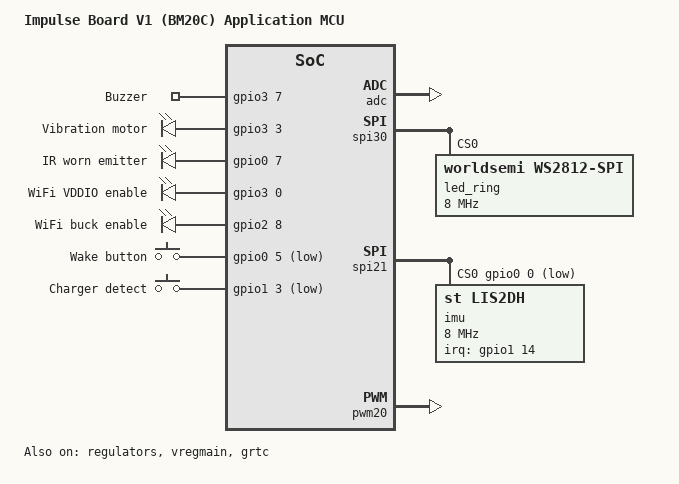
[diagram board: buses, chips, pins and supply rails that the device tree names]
/*
 * Impulse Board V1 — Fanstel BM20C (nRF54LM20A).
 * SPDX-License-Identifier: Apache-2.0
 *
 * Pin map: firmware_spec_v3_nrf.md §2, which is itself transcribed from
 * ~/Documents/KiCad/ImpulseBluetooth/Impulse.kicad_sch. Four signals here were
 * additionally EXERCISED on real hardware on 2026-08-29 (ring, motor, buzzer,
 * wake button) — those are marked [verified]. Everything else is [from schematic]
 * and has never been driven. Re-export the netlist before trusting the rest:
 *   kicad-cli sch export netlist --format kicadsexpr
 */

/dts-v1/;

#include <nordic/nrf54lm20a_cpuapp.dtsi>
#include <zephyr/dt-bindings/input/input-event-codes.h>
#include <zephyr/dt-bindings/led/led.h>
#include <zephyr/dt-bindings/regulator/nrf5x.h>
#include <zephyr/dt-bindings/gpio/nordic-nrf-gpio.h>
#include <zephyr/dt-bindings/adc/adc.h>
#include <zephyr/dt-bindings/adc/nrf-saadc.h>
#include "impulse_v1-pinctrl.dtsi"

/ {
	compatible = "impulse,impulse-v1-nrf54lm20a-cpuapp";
	model = "Impulse Board V1 (BM20C) Application MCU";

	chosen {
		zephyr,flash-controller = &rram_controller;
		zephyr,flash = &cpuapp_rram;
		zephyr,code-partition = &slot0_partition;
		zephyr,sram = &cpuapp_sram;
	};

	aliases {
		led-strip = &led_ring;
		watchdog0 = &wdt31;
	};

	/*
	 * Simple GPIO outputs. "gpio-leds" is used as a generic output binding
	 * so each gets a GPIO_DT_SPEC without a custom binding; none of these
	 * are LEDs and none are driven by the LED subsystem.
	 */
	outputs {
		compatible = "gpio-leds";

		/* [verified 2026-08-29] Active buzzer, direct to BUZZER1, pad C9.
		 * R17 (10k) pulls it to GND so it is silent through reset.
		 * DC drive sounds it — confirmed on the bench with a 150 ms pulse,
		 * so the fitted part is genuinely an active buzzer and no PWM tone
		 * generation is required. */
		buzzer: buzzer {
			/* HIGH DRIVE is required, not cosmetic. The buzzer is a
			 * ~30 mA load hung directly off the pin with no
			 * transistor. At standard drive the pad sags far enough
			 * that its own input buffer reads it back LOW while it
			 * is being driven high — observed on hardware
			 * 2026-08-30, and the bare-metal bring-up used
			 * extra-high drive for the same reason. */
			gpios = <&gpio3 7 (GPIO_ACTIVE_HIGH | NRF_GPIO_DRIVE_H0H1)>;
			label = "Buzzer";
		};

		/* [verified 2026-08-29] Vibration motor, pad A7, via R5 (1k) to Q3
		 * (BSS138) low-side switch. R10 (100k) holds the gate down through
		 * reset. Drives a MOSFET gate only, so it sources no real current. */
		motor: motor {
			gpios = <&gpio3 3 GPIO_ACTIVE_HIGH>;
			label = "Vibration motor";
		};

		/* [from schematic] IR worn-detect emitter, pad E4, via R7 (100R)
		 * to KEY1 (ITR8307). Lit only during a worn sample — see §5.2. */
		ir_emit: ir_emit {
			gpios = <&gpio0 7 GPIO_ACTIVE_HIGH>;
			label = "IR worn emitter";
		};

		/* [from schematic] WiFi rails. VDDIO gates U2 (TPS22916) into the
		 * WM02C, so WiFi can be powered off rather than idled (§1.1). */
		wifi_vddio_en: wifi_vddio_en {
			gpios = <&gpio3 0 GPIO_ACTIVE_HIGH>;
			label = "WiFi VDDIO enable";
		};

		wifi_buck_en: wifi_buck_en {
			gpios = <&gpio2 8 GPIO_ACTIVE_HIGH>;
			label = "WiFi buck enable";
		};
	};

	buttons {
		compatible = "gpio-keys";

		/* [verified 2026-08-29] Wake button S2 to GND, pad D9, on the back
		 * of the board. No external pull — the internal one is required.
		 * Short press lights the clock (§6.2); long press is reserved for
		 * the hard override and is deliberately NOT implemented (chunk J). */
		wake_button: wake_button {
			gpios = <&gpio0 5 (GPIO_PULL_UP | GPIO_ACTIVE_LOW)>;
			label = "Wake button";
			zephyr,code = <INPUT_KEY_0>;
		};

		/* [from schematic] Charger detect from the TP4057, pad C5. New on
		 * Board V1 — v2 had no charge-state input and inferred it from
		 * voltage (§6.3). Polarity is UNVERIFIED — see the test plan. */
		charger_detect: charger_detect {
			gpios = <&gpio1 3 (GPIO_PULL_UP | GPIO_ACTIVE_LOW)>;
			label = "Charger detect";
			zephyr,code = <INPUT_KEY_1>;
		};
	};
};

&cpuapp_sram {
	status = "okay";
};

/*
 * Use the on-module 32.768 kHz crystal, not the internal RC.
 * firmware_spec_v3_nrf.md §3.2 is emphatic about this: Zephyr falls back to
 * the RC when nothing is specified, which runs silently on a worse clock with
 * the crystal sitting unused and no error anywhere. Both crystals are embedded
 * in the BM20C (datasheet Draft Ver 0.82: "32.0 MHz and 32.768 kHz crystals
 * embedded"), so there is nothing external to fit.
 * TODO(hw): confirm at runtime in chunk D that LFCLK really is on LFXO.
 */
&lfxo {
	load-capacitors = "internal";
	load-capacitance-femtofarad = <17000>;
};

&hfxo {
	load-capacitors = "internal";
	load-capacitance-femtofarad = <15000>;
};

&regulators {
	status = "okay";
};

&vregmain {
	status = "okay";
	regulator-initial-mode = <NRF5X_REG_MODE_DCDC>;
};

&gpio0 { status = "okay"; };
&gpio1 { status = "okay"; };
&gpio2 { status = "okay"; };
&gpio3 { status = "okay"; };
/*
 * The nRF clock-control node is status="disabled" in the SoC dtsi and MUST be
 * enabled here. Without it CONFIG_CLOCK_CONTROL_NRF is never selected, and
 * MPSL — the radio scheduler under the Bluetooth controller — fails to build
 * with "Clock source is not supported or not defined". Nothing else in the
 * firmware needs it, so the omission stays invisible until the first build
 * that turns on Bluetooth.
 */
&clock { status = "okay"; };

&gpiote20 { status = "okay"; };
&gpiote30 { status = "okay"; };
/* The GRTC is the system time base and the wake source for scheduled windows.
 * Channel split copied from Nordic's own DK definition: 7-11 are reserved for
 * zero-latency IRQs and 3-4 for the FLPR core. */
&grtc {
	owned-channels = <0 1 2 3 4 5 6 7 8 9 10 11>;
	child-owned-channels = <3 4 7 8 9 10 11>;
	status = "okay";
};
/*
 * EVERY SAADC input is declared, not just the two the board uses, because the
 * AIN-to-pin mapping for the nRF54LM20A is in no document available here —
 * datasheets/BM20C.pdf lists analog functions only in its BM15 columns. The
 * mapping is therefore found empirically: `impulse adc` sweeps all of them and
 * the battery divider (Vbat/2 on P1.00, a known live voltage) identifies
 * itself, while toggling the IR emitter identifies the worn-sense input.
 *
 * Once the mapping is known, drop the channels that are not used — reading an
 * unknown channel is harmless, but shipping fourteen of them is not tidy.
 */
&adc {
	status = "okay";
	#address-cells = <1>;
	#size-cells = <0>;

};

/*
 * LED ring — 12x SK6805-EC15 on P0.02 via R15 (510R) to LED1.DIN.
 *
 * MUST be SPIM30. This is not a style choice and it cost hours to establish:
 * PWM20/21/22 live at 0x500Dxxxx and CANNOT reach P0, which is in the "30"
 * domain at 0x5010xxxx. Measured 2026-08-29 — PWM reported a full DMA AMOUNT
 * and SEQEND every frame while driving the pad with 0 highs out of 199 samples.
 * Zephyr's own DK board file states the same rule. Bit-banging is out too: a
 * GPIO write to P0 costs ~25-40 cycles even with ICACHE on, flooring the high
 * time near 1.6 us against a 0.45 us budget.
 *
 * Frame timing below reproduces the values MEASURED to work on this ring:
 *   8 MHz SPI (16 MHz / 2 — an achievable SPIM prescaler; 6.4 MHz is not),
 *   8 SPI bits per LED bit => 125 ns per SPI bit, 1.0 us per LED bit.
 *   zero-frame 0xC0 = 2 bits = 0.25 us  [verified as a zero]
 *   one-frame  0xFC = 6 bits = 0.75 us  [verified as a one]
 * T1H of 0.75 us is ABOVE the SK6805 datasheet nominal. 0.5 us is inside the
 * datasheet window and this chain decodes it as a ZERO — the whole ring went
 * dark while still accepting frames. Do not "correct" these toward the
 * datasheet. See docs/agent-notes.md, 2026-08-29.
 */
&spi30 {
	status = "okay";
	pinctrl-0 = <&spi30_default>;
	pinctrl-1 = <&spi30_sleep>;
	pinctrl-names = "default", "sleep";

	led_ring: ws2812@0 {
		compatible = "worldsemi,ws2812-spi";
		reg = <0>;
		spi-max-frequency = <8000000>;
		chain-length = <12>;
		color-mapping = <LED_COLOR_ID_GREEN
				 LED_COLOR_ID_RED
				 LED_COLOR_ID_BLUE>;
		spi-one-frame = <0xFC>;
		spi-zero-frame = <0xC0>;
		reset-delay = <300>;
	};
};

/*
 * IMU — LIS3DHTR (U6) on the shared SPI bus with the WM02C's QSPI.
 * [from schematic] SCK P1.11, MOSI P1.06, MISO P1.07, CS P0.00.
 * NOTE the CS is on a different GPIO port from the bus pins; cs-gpios is a
 * software GPIO toggle so that is legal, but it is UNVERIFIED on hardware.
 * TODO(hw): the bus is shared with WiFi QSPI — arbitration is a chunk-I
 * problem and is not solved here.
 */
&spi21 {
	status = "okay";
	pinctrl-0 = <&spi21_default>;
	pinctrl-1 = <&spi21_sleep>;
	pinctrl-names = "default", "sleep";
	cs-gpios = <&gpio0 0 GPIO_ACTIVE_LOW>;

	imu: lis2dh@0 {
		/* TODO(api): Zephyr ships "st,lis2dh" which covers the LIS3DH
		 * family; the fitted part is a LIS3DHTR. Verify the driver
		 * actually matches this part's WHO_AM_I before trusting data. */
		compatible = "st,lis2dh";
		reg = <0>;
		spi-max-frequency = <8000000>;
		/* IMU INT1 on P1.14 — motion wake source (v2 §8.4). The net is
		 * named IMU_ESP_INT in the schematic; that is a leftover and it
		 * is not an ESP interrupt. */
		irq-gpios = <&gpio1 14 GPIO_ACTIVE_HIGH>;
		status = "okay";
	};
};

/*
 * Servo — anchor role only (v2 §4.9 strap lock). P1.02, pad A8.
 * P1 is in the PWM20 domain so PWM is available here, unlike the LED ring.
 * The 3-wire lead is SOLDERED to U1's pads; the header is never populated.
 * U1 pin 2 is /VBAT direct — no switch, no fuse, no current limit — so the
 * servo rail CANNOT be cut in software and a stall is unbounded by anything
 * firmware controls (§7). Do not write a recovery path that cannot work.
 */
&pwm20 {
	status = "okay";
	pinctrl-0 = <&pwm20_default>;
	pinctrl-1 = <&pwm20_sleep>;
	pinctrl-names = "default", "sleep";
};

&uart20 { status = "disabled"; };
&uart30 { status = "disabled"; };

#include <vendor/nordic/nrf54lm20a_cpuapp_partition.dtsi>
